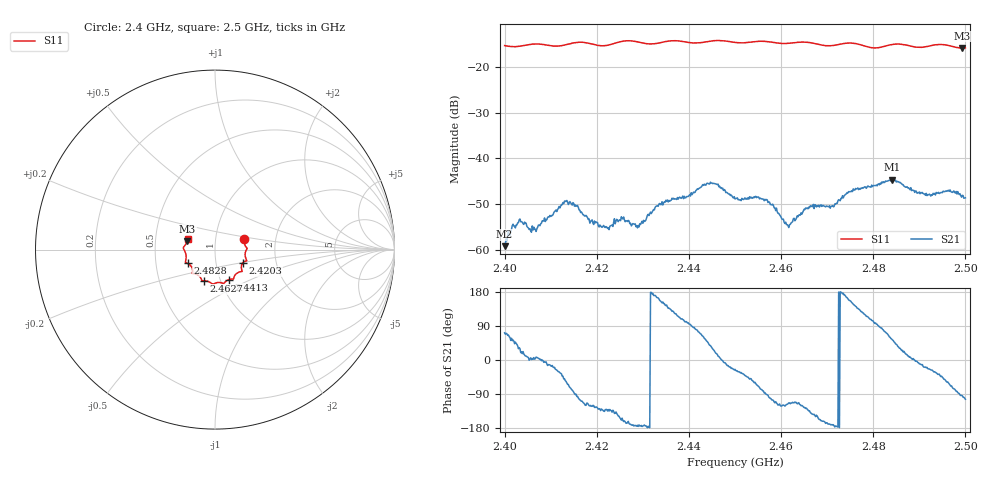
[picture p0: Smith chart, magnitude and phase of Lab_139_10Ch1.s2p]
# Hz S RI R 50
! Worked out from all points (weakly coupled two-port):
!   601 points, 2.4 GHz to 2.5 GHz, reference 50 ohm
!   highest |S21| = -44.63 dB at 2.484 GHz (marker M1); lowest = -59.2 dB at 2.4 GHz (marker M2)
!   lowest |S11| = -15.8 dB at 2.4993 GHz (marker M3), VSWR 1.38, Z = 36.5 + j3.61 ohm
!   |S11| at or under -10 dB: start of sweep to end of sweep
!   S12 and S22 are empty: the file has one direction only
!   S11 on the Smith chart (normalised r, x): 2.4 GHz: 1.37, +0.17; 2.4203 GHz: 1.35, -0.20; 2.4413 GHz: 1.09, -0.38; 2.4627 GHz: 0.83, -0.30; 2.4828 GHz: 0.73, -0.11; 2.5 GHz: 0.73, +0.09
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2.4e9  0.1616 0.0584  0.000345 0.00104  0 0  0 0
2.403e9  0.1664 0.026  0.00172 0.000988  0 0  0 0
2.406667e9  0.1787 0.0075  0.00168 0.000109  0 0  0 0
2.413167e9  0.1696 -0.0432  0.00198 -0.00278  0 0  0 0
2.416667e9  0.1765 -0.0623  -0.000836 -0.00246  0 0  0 0
2.420333e9  0.1562 -0.0731  -0.00118 -0.00141  0 0  0 0
2.429e9  0.1423 -0.1231  -0.00184 -0.000154  0 0  0 0
2.433333e9  0.1077 -0.1479  -0.00288 0.000836  0 0  0 0
2.441333e9  0.0752 -0.1673  0.000574 0.00423  0 0  0 0
2.445167e9  0.0514 -0.1871  0.00464 0.00258  0 0  0 0
2.45e9  0.0304 -0.1839  0.00327 -0.00151  0 0  0 0
2.4565e9  -0.0145 -0.1906  0.00024 -0.00357  0 0  0 0
2.461167e9  -0.0489 -0.1746  -0.000872 -0.00168  0 0  0 0
2.462667e9  -0.0615 -0.1739  -0.000854 -0.00202  0 0  0 0
2.466667e9  -0.0744 -0.1682  -0.00236 -0.00183  0 0  0 0
2.471e9  -0.1009 -0.1387  -0.00297 -0.000505  0 0  0 0
2.476167e9  -0.126 -0.1299  -0.00369 0.00291  0 0  0 0
2.482833e9  -0.1528 -0.0767  0.0018 0.00533  0 0  0 0
2.483333e9  -0.1564 -0.0751  0.00247 0.00518  0 0  0 0
2.484e9  -0.1602 -0.0737  0.00335 0.00482  0 0  0 0
2.499333e9  -0.154 0.0482  -0.000279 -0.00394  0 0  0 0
2.5e9  -0.152 0.0572  -0.000876 -0.00361  0 0  0 0
